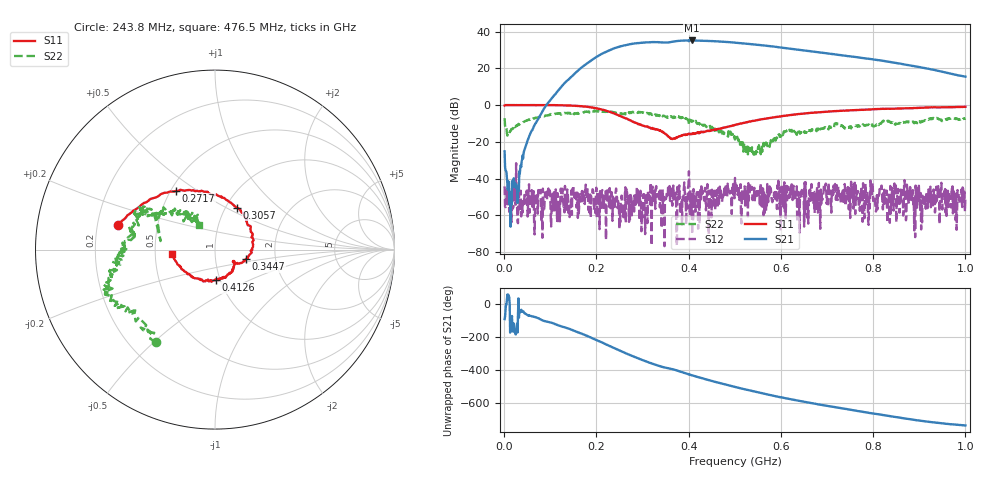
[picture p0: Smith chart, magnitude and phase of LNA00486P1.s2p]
! Created with skrf 1.9.0 (http://scikit-rf.org).
# Hz S RI R 50.0
!freq ReS11 ImS11 ReS21 ImS21 ReS12 ImS12 ReS22 ImS22
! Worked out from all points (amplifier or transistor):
!   1001 points, 1 MHz to 1 GHz, reference 50 ohm
!   highest |S21| = 35.2 dB at 406.6 MHz (marker M1)
!   |S21| within 3 dB of that: 255.7 MHz to 572.1 MHz (316.5 MHz wide, 76.5 % of centre)
!   unconditionally stable (mu >= 1): 228.9 MHz to 317.5 MHz; 317.9 MHz to 400.4 MHz; 400.8 MHz to end of sweep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
!   at 166.8 MHz: K = 1.73, MAG = 31.2 dB, |S12| = -52.1 dB
!   at 500.5 MHz: K = 1.12, MAG = 34.8 dB, |S12| = -39.7 dB
!   at 1 GHz: K = 3.90, MAG = 23.8 dB, |S12| = -49.8 dB
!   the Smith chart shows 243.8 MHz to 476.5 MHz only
!   S11 on the Smith chart (normalised r, x): 243.8 MHz: 0.29, +0.11; 271.7 MHz: 0.53, +0.41; 305.7 MHz: 1.12, +0.57; 344.7 MHz: 1.41, -0.15; 412.6 MHz: 0.96, -0.33; 476.5 MHz: 0.61, -0.03
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1000000  0.974 0.00604  -0.000189 -0.0551  -0.00603 -0.000969  0.3291 0.296
1.08892e8  0.5261 -0.8465  -0.9005 -1.639  0.000423 -0.0015  0.4122 -0.3945
1.67833e8  -0.2197 -0.9034  -10.59 -0.3565  -0.0034 -0.000524  0.0136 -0.6207
2.09791e8  -0.6587 -0.4023  -15.97 18.12  -0.00146 0.00153  -0.235 -0.6377
2.43757e8  -0.5392 0.1366  1.634 37.03  0.000813 0.00283  -0.3267 -0.5155
2.71729e8  -0.2183 0.3268  26.78 36.46  -0.00116 0.00159  -0.5133 -0.3148
3.05695e8  0.1207 0.2341  48.62 14.21  0.000151 -0.000266  -0.5933 -0.1692
3.34666e8  0.2116 0.0149  50.61 -11.08  -0.00215 0.00253  -0.5125 -0.0123
3.44656e8  0.1718 -0.052  47.31 -17.82  0.000627 -0.000847  -0.5151 0.039
3.74626e8  0.1054 -0.0741  41.96 -36.43  -0.000143 -2.81e-05  -0.3994 0.1946
4.06594e8  0.0316 -0.1621  20.61 -53.95  0.00244 0.00274  -0.2992 0.1992
4.12588e8  0.00641 -0.1689  15.86 -55.23  0.00218 0.00216  -0.2887 0.1939
4.41559e8  -0.1249 -0.1523  -7.2 -55.88  0.0008 0.00351  -0.1739 0.1846
4.76524e8  -0.2397 -0.0246  -29.21 -44.27  0.00351 -0.00029  -0.0883 0.1361
5.005e8  -0.27 0.1032  -38.81 -32.31  0.0101 -0.00231  -0.0755 0.0867
5.4046e8  -0.2212 0.2988  -43.8 -10.5  0.00179 -0.00244  -0.0418 0.02
5.88412e8  -0.0465 0.4692  -37.22 10.77  0.00197 0.00189  -0.0889 -0.0609
6.67333e8  0.3221 0.5257  -15.1 24.52  0.00199 -0.00429  -0.1881 -0.066
7.53247e8  0.6249 0.3624  3.316 20.74  0.00282 -0.000742  -0.2509 -0.0107
8.34166e8  0.7842 0.1323  10.78 10.7  -0.00273 0.00152  -0.369 -0.0265
9.09091e8  0.8417 -0.1166  10.06 2.336  -0.00338 -0.000853  -0.3412 0.1273
1e9  0.808 -0.3913  5.828 -1.303  -0.00321 -0.00033  -0.3278 0.2845
